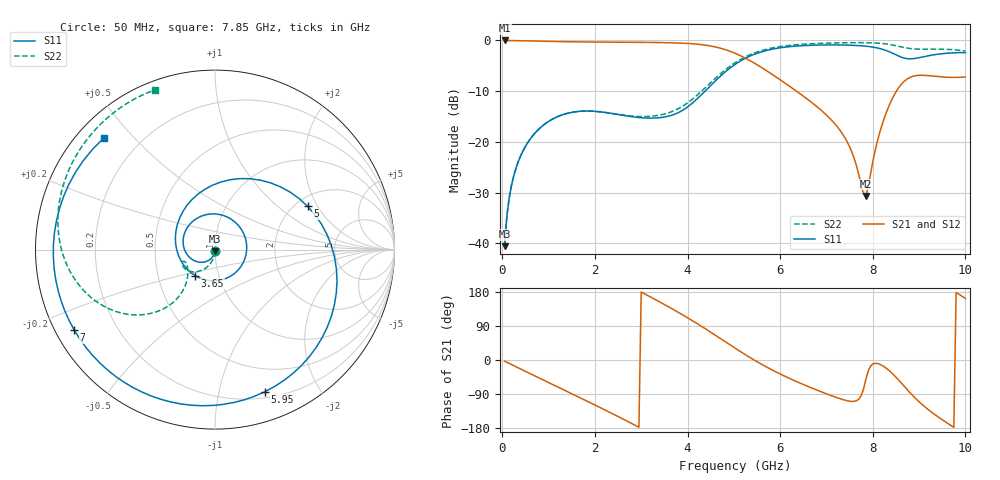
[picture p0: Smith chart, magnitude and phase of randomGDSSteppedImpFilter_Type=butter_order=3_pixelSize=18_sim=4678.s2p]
! freq	dB(S11)	phase(S11)	dB(S12)	phase(S12)
!  dB(S21)	phase(S21)	dB(S22)	phase(S22)
!S-par simulation data
#  GHz  S  DB  R 50
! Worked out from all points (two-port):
!   200 points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, 50 MHz to 10 GHz, reference 50 ohm
!   highest |S21| = 0.00 dB at 50 MHz (marker M1); lowest = -30.7 dB at 7.85 GHz (marker M2)
!   |S21| within 3 dB of the highest: start of sweep to 5.141 GHz
!   lowest |S11| = -40.6 dB at 50 MHz (marker M3), VSWR 1.02, Z = 49.9 - j0.935 ohm
!   |S11| at or under -10 dB: start of sweep to 4.377 GHz
!   |S22| runs from -40.5 to -0.4 dB; largest |S21 - S12| = 0
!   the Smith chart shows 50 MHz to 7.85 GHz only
!   S11 on the Smith chart (normalised r, x): 50 MHz: 1.00, -0.02; 3.65 GHz: 0.77, -0.23; 5 GHz: 2.31, +1.65; 5.95 GHz: 0.26, -1.38; 7 GHz: 0.05, -0.26; 7.85 GHz: 0.08, +0.41
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0.05  -40.55 -93.4  -0.00 -3.0  -0.00 -3.0  -40.46 -91.6
0.2  -28.52 -105.8  -0.03 -12.1  -0.03 -12.1  -28.48 -98.2
0.5  -20.89 -130.2  -0.08 -30.0  -0.08 -30.0  -20.86 -110.5
1.75  -13.93 122.7  -0.30 -103.8  -0.30 -103.8  -13.92 -151.5
2.65  -14.84 22.1  -0.34 -158.5  -0.34 -158.5  -14.76 -159.0
3.4  -15.22 -86.4  -0.42 153.2  -0.42 153.2  -14.71 -146.2
3.65  -14.77 -127.4  -0.46 136.2  -0.46 136.2  -14.07 -139.8
4.3  -10.70 122.5  -0.83 89.0  -0.83 89.0  -10.02 -127.6
5  -4.89 25.1  -2.43 33.4  -2.43 33.4  -4.55 -142.3
5.05  -4.58 19.1  -2.62 29.4  -2.62 29.4  -4.25 -144.2
5.45  -2.70 -24.8  -4.51 -0.9  -4.51 -0.9  -2.44 -161.0
5.95  -1.52 -70.7  -7.44 -33.9  -7.44 -33.9  -1.28 178.1
6.7  -0.94 -128.3  -12.36 -74.8  -12.36 -74.8  -0.64 150.2
7  -0.88 -150.3  -14.70 -89.3  -14.70 -89.3  -0.53 139.9
7.45  -0.92 174.2  -20.04 -107.6  -20.04 -107.6  -0.45 124.6
7.85  -1.14 135.0  -30.66 -51.6  -30.66 -51.6  -0.44 110.5
8.15  -1.59 94.0  -18.16 -11.3  -18.16 -11.3  -0.55 99.1
8.35  -2.20 56.3  -12.91 -27.6  -12.91 -27.6  -0.77 91.2
8.6  -3.24 -6.4  -8.82 -58.6  -8.82 -58.6  -1.25 82.2
8.9  -3.56 -87.7  -7.00 -98.5  -7.00 -98.5  -1.68 73.7
9.35  -2.78 -169.2  -7.07 -144.9  -7.07 -144.9  -1.72 58.2
10  -2.38 123.0  -7.20 162.4  -7.20 162.4  -2.08 22.9
